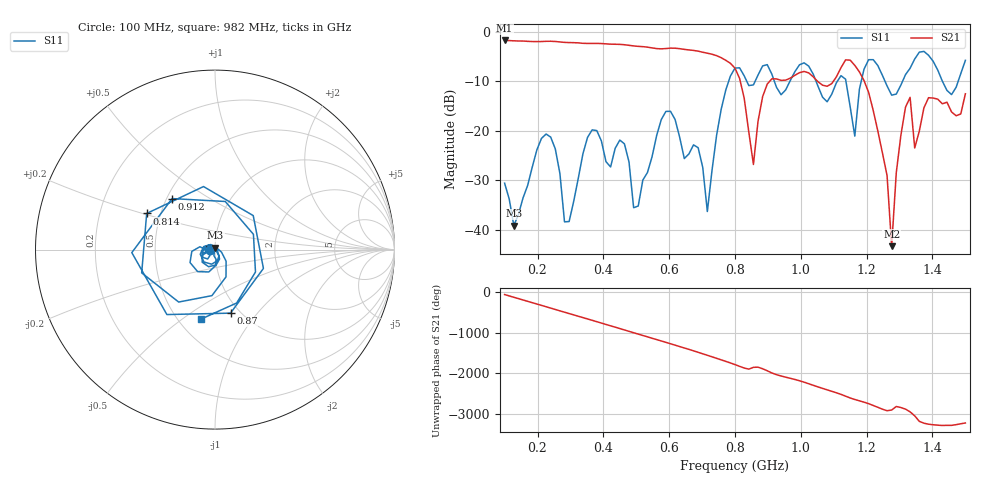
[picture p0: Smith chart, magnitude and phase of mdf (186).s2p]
! NanoVNA-App
! Date: 2025-09-26 09:41:11
! Start: 100MHz Stop: 1,5GHz Points: 101
! S-Parameter data: F S11 S21 S12 S22
# Hz S RI R 50
!  Frequency  S11_Real  S11_Imag  S21_Real  S21_Imag  S12_Real  S12_Imag  S22_Real  S22_Imag
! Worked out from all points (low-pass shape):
!   101 points, 100 MHz to 1.5 GHz, reference 50 ohm
!   highest |S21| = -1.79 dB at 100 MHz (marker M1); lowest = -43.3 dB at 1.276 GHz (marker M2)
!   |S21| within 3 dB of the highest: start of sweep to 740.6 MHz
!   lowest |S11| = -39.2 dB at 128 MHz (marker M3), VSWR 1.02, Z = 50.3 + j1.07 ohm
!   |S11| at or under -10 dB: start of sweep to 780.9 MHz; 1.046 GHz to 1.111 GHz (65.27 MHz wide, 6.05 % of centre); 1.256 GHz to 1.309 GHz (53.75 MHz wide, 4.19 % of centre) (the widest 3 of 7)
!   S12 and S22 are empty: the file has one direction only
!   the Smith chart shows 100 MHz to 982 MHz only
!   S11 on the Smith chart (normalised r, x): 100 MHz: 0.94, -0.01; 814 MHz: 0.42, +0.21; 870 MHz: 0.90, -0.74; 912 MHz: 0.53, +0.35; 982 MHz: 0.65, -0.59
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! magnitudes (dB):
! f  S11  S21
! 100 MHz  -30.6  -1.8
! 128 MHz  -39.2  -1.9
! 212 MHz  -21.6  -2.0
! 282 MHz  -38.4  -2.2
! 338 MHz  -24.7  -2.4
! 464 MHz  -22.7  -2.6
! 506 MHz  -35.2  -3.0
! 576 MHz  -17.8  -3.5
! 716 MHz  -36.3  -4.4
! 800 MHz  -7.4  -7.4
! 814 MHz  -7.3  -9.5
! 856 MHz  -10.8  -26.8
! 870 MHz  -8.8  -18.1
! 912 MHz  -8.6  -9.5
! 982 MHz  -8.1  -8.8
! 1.038 GHz  -8.6  -9.2
! 1.164 GHz  -21.1  -6.8
! 1.192 GHz  -7.6  -9.9
! 1.276 GHz  -12.8  -43.3
! 1.332 GHz  -7.4  -13.3
! 1.346 GHz  -5.5  -23.5
! 1.5 GHz  -5.8  -12.6
